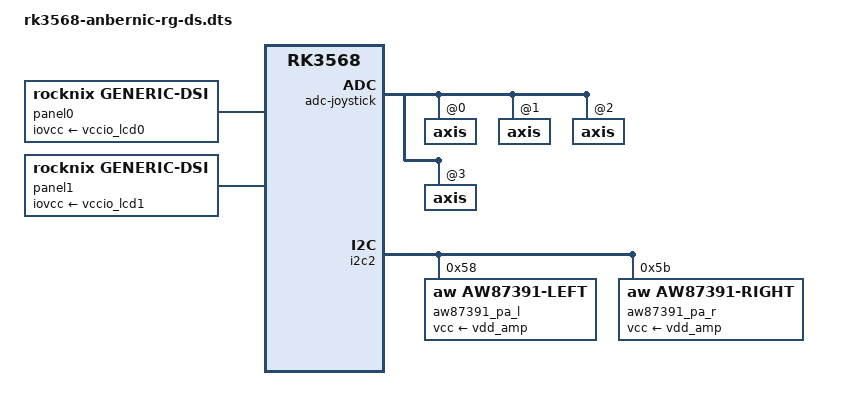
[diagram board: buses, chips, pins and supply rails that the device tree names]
// SPDX-License-Identifier: (GPL-2.0+ OR MIT)
/*
 * Anbernic RG DS for RG DS OS (docs/OWN_BSP_PLAN.md, Phase C).
 *
 * The board is Linux's own tree, rk3568-anbernic-rg-ds-mainline.dtsi: mainline v7.2.7's
 * rk3568-anbernic-rg-ds.dts, unchanged. This file holds only what RG DS OS runs differently, one section per
 * reason, so each can go once mainline (or our move to mainline drivers) covers it. On 2026-11-20 the compiled
 * result was checked against the BananaLinux-based tree it replaces with tools/dtb_compare.py: same meaning,
 * node for node. The panels' timings and init sequences come from BananaLinux's tree (MIT), which takes them from
 * ROCKNIX (GPL-2.0); see THIRD_PARTY.md. Our former dts-patches 0001-0004 (60 Hz panels,
 * 25 kHz motor, KEY_HOME, LEDs through sleep) are folded in below.
 */

#include "rk3568-anbernic-rg-ds-mainline.dtsi"
#include <dt-bindings/suspend/rockchip-rk3568.h>

/*
 * Buttons, sticks and rumble: mainline's drivers (gpio-keys, adc-joystick behind the analog mux, pwm-vibrator), merged
 * into one pad with ROCKNIX's joypad identity by rgds-pad (src/pad, started by rcS), which everything above the kernel
 * expects (docs/OWN_BSP_PLAN.md, Phase C step 2). For that:
 *  - the F key stays BTN_MODE (mainline makes it KEY_HOME) and the Anbernic Home key KEY_HOME (mainline: BTN_MODE),
 *    the codes RG DS Core, the bridge and the game menus have always seen; Home at ROCKNIX's threshold;
 *  - adc-joystick reports the four mux channels as they are (channel N, uninverted, no fuzz or flat), every 5 ms as
 *    ROCKNIX's driver read them; rgds-pad applies that driver's mapping, centring, deadzone and gain;
 *  - the motor's PWM at 25 kHz (40000 ns): at mainline's 10 kHz the coil sings on every menu tap.
 */
&gpio_keys_control {
	button-menu {
		linux,code = <BTN_MODE>;
	};
};

&adc_keys_home {
	button-home {
		linux,code = <KEY_HOME>;
		press-threshold-microvolt = <41000>;
	};
};

/ {
	adc-joystick {
		poll-interval = <5>;

		axis@0 {
			abs-flat = <0>;
			abs-fuzz = <0>;
			abs-range = <0 1023>;
			linux,code = <ABS_X>;
		};

		axis@1 {
			abs-flat = <0>;
			abs-fuzz = <0>;
			abs-range = <0 1023>;
			linux,code = <ABS_Y>;
		};

		axis@2 {
			abs-flat = <0>;
			abs-fuzz = <0>;
			abs-range = <0 1023>;
			linux,code = <ABS_RX>;
		};

		axis@3 {
			abs-flat = <0>;
			abs-fuzz = <0>;
			abs-range = <0 1023>;
			linux,code = <ABS_RY>;
		};
	};
};

&vibrator {
	pwms = <&pwm14 0 40000 0>;
};

/*
 * Panels: ROCKNIX's generic DSI driver with each panel's init sequence and timings in the tree, until Phase C step 3.
 * The pixel clock is 42134 kHz because VPLL/HPLL run at 126.4 MHz and the VOP divides by a whole number; the porches
 * (ROCKNIXDS's measured fix) make 42133334 / (1353 x 519) = 60.0013 Hz, where mainline's jadard timings give 59.6 Hz.
 * This driver calls the I/O supply iovcc; the touchscreens are not tied to a panel in that setup.
 */
&panel0 {
	compatible = "rocknix,generic-dsi";
	/delete-property/ vccio-supply;
	iovcc-supply = <&vccio_lcd0>;
	panel_description =
		"G size=81,61 delays=20,10,50,120,50 format=rgb888 lanes=4 flags=0xc03",

		"M clock=42134 horizontal=640,233,220,260 vertical=480,21,2,16 default=1",

		"I seq=e000", "I seq=e193", "I seq=e265", "I seq=e3f8",
		"I seq=8003",
		"I seq=e001",
		"I seq=0000", "I seq=016a", "I seq=0310", "I seq=046a",
		"I seq=0c74",
		"I seq=1700",
		"I seq=18bf", "I seq=1901", "I seq=1a00", "I seq=1bbf", "I seq=1c01",
		"I seq=24fe",
		"I seq=3709",
		"I seq=3802", "I seq=3908", "I seq=3a1f", "I seq=3cf7", "I seq=3dff", "I seq=3eff", "I seq=3fff",
		"I seq=4003", "I seq=413c", "I seq=42ff", "I seq=430a", "I seq=4411", "I seq=4578",
		"I seq=5502", "I seq=576d",
		"I seq=580a", "I seq=590a", "I seq=5a1f", "I seq=5b1f", "I seq=5d7f", "I seq=5e56", "I seq=5f43",
		"I seq=6034", "I seq=612f", "I seq=6220", "I seq=6322", "I seq=640c", "I seq=6524", "I seq=6624", "I seq=6725",
		"I seq=6843", "I seq=6933", "I seq=6a3a", "I seq=6b2d", "I seq=6c28", "I seq=6d1b", "I seq=6e0b", "I seq=6f00",
		"I seq=707f", "I seq=7156", "I seq=7243", "I seq=7334", "I seq=742f", "I seq=7520", "I seq=7622", "I seq=770c",
		"I seq=7824", "I seq=7924", "I seq=7a25", "I seq=7b43", "I seq=7c33", "I seq=7d3a", "I seq=7e2d", "I seq=7f28",
		"I seq=801b", "I seq=810b", "I seq=8200",
		"I seq=e002",
		"I seq=005f", "I seq=015f", "I seq=025f", "I seq=035e", "I seq=0450", "I seq=0540", "I seq=065f", "I seq=0757",
		"I seq=0877", "I seq=0948", "I seq=0a48", "I seq=0b4a", "I seq=0c4a", "I seq=0d44", "I seq=0e44", "I seq=0f46",
		"I seq=1046", "I seq=115f", "I seq=125f", "I seq=135f", "I seq=145f", "I seq=155f", "I seq=165f", "I seq=175f",
		"I seq=185f", "I seq=195e", "I seq=1a50", "I seq=1b41", "I seq=1c5f", "I seq=1d57", "I seq=1e77", "I seq=1f49",
		"I seq=2049", "I seq=214b", "I seq=224b", "I seq=2345", "I seq=2445", "I seq=2547", "I seq=2647", "I seq=275f",
		"I seq=285f", "I seq=295f", "I seq=2a5f", "I seq=2b5f", "I seq=2c1f", "I seq=2d1f", "I seq=2e1e", "I seq=2f1f",
		"I seq=3010", "I seq=3101", "I seq=321f", "I seq=3317", "I seq=3417", "I seq=3507", "I seq=3607", "I seq=3705",
		"I seq=3805", "I seq=390b", "I seq=3a0b", "I seq=3b09", "I seq=3c09", "I seq=3d1f", "I seq=3e1f", "I seq=3f1f",
		"I seq=401f", "I seq=411f", "I seq=421f", "I seq=431f", "I seq=441e", "I seq=451f", "I seq=4610", "I seq=4700",
		"I seq=481f", "I seq=4917", "I seq=4a17", "I seq=4b06", "I seq=4c06", "I seq=4d04", "I seq=4e04", "I seq=4f0a",
		"I seq=500a", "I seq=5108", "I seq=5208", "I seq=531f", "I seq=541f", "I seq=551f", "I seq=561f", "I seq=571f",
		"I seq=5840", "I seq=5900", "I seq=5a00", "I seq=5b10", "I seq=5c07", "I seq=5d30", "I seq=5e01", "I seq=5f02",
		"I seq=6030", "I seq=6101", "I seq=6202", "I seq=6306", "I seq=64e9", "I seq=6540", "I seq=6602", "I seq=6773",
		"I seq=680b", "I seq=6906", "I seq=6ae9", "I seq=6b08",
		"I seq=75da", "I seq=7600", "I seq=7701",
		"I seq=78fc",
		"I seq=8108", "I seq=83f4", "I seq=8710",
		"I seq=e004",
		"I seq=000e", "I seq=02b3",
		"I seq=0960", "I seq=0e48",
		"I seq=1e00",
		"I seq=3758",
		"I seq=2b0f",
		"I seq=e005",
		"I seq=151d",
		"I seq=e000";
};

&panel1 {
	compatible = "rocknix,generic-dsi";
	/delete-property/ vccio-supply;
	iovcc-supply = <&vccio_lcd1>;
	panel_description =
		"G size=81,61 delays=20,10,50,120,50 format=rgb888 lanes=4 flags=0xc03",

		"M clock=42134 horizontal=640,233,220,260 vertical=480,21,2,16 default=1",

		"I seq=e000", "I seq=e193", "I seq=e265", "I seq=e3f8",
		"I seq=8003",
		"I seq=e001",
		"I seq=0000", "I seq=016a", "I seq=0310", "I seq=046a",
		"I seq=0c74",
		"I seq=1700",
		"I seq=18bf", "I seq=1901", "I seq=1a00", "I seq=1bbf", "I seq=1c01",
		"I seq=24fe",
		"I seq=3705",
		"I seq=3802", "I seq=3908", "I seq=3a1f", "I seq=3cf7", "I seq=3dff", "I seq=3eff", "I seq=3fff",
		"I seq=4003", "I seq=413c", "I seq=42ff", "I seq=430a", "I seq=4411", "I seq=4578",
		"I seq=5502", "I seq=576d",
		"I seq=580a", "I seq=590a", "I seq=5a1f", "I seq=5b1f", "I seq=5d7f", "I seq=5e56", "I seq=5f43",
		"I seq=6034", "I seq=612f", "I seq=6220", "I seq=6322", "I seq=640c", "I seq=6524", "I seq=6624", "I seq=6725",
		"I seq=6843", "I seq=6933", "I seq=6a3a", "I seq=6b2d", "I seq=6c28", "I seq=6d1b", "I seq=6e0b", "I seq=6f00",
		"I seq=707f", "I seq=7156", "I seq=7243", "I seq=7334", "I seq=742f", "I seq=7520", "I seq=7622", "I seq=770c",
		"I seq=7824", "I seq=7924", "I seq=7a25", "I seq=7b43", "I seq=7c33", "I seq=7d3a", "I seq=7e2d", "I seq=7f28",
		"I seq=801b", "I seq=810b", "I seq=8200",
		"I seq=e002",
		"I seq=005f", "I seq=015f", "I seq=025f", "I seq=035e", "I seq=0450", "I seq=0540", "I seq=065f", "I seq=0757",
		"I seq=0877", "I seq=0948", "I seq=0a48", "I seq=0b4a", "I seq=0c4a", "I seq=0d44", "I seq=0e44", "I seq=0f46",
		"I seq=1046", "I seq=115f", "I seq=125f", "I seq=135f", "I seq=145f", "I seq=155f", "I seq=165f", "I seq=175f",
		"I seq=185f", "I seq=195e", "I seq=1a50", "I seq=1b41", "I seq=1c5f", "I seq=1d57", "I seq=1e77", "I seq=1f49",
		"I seq=2049", "I seq=214b", "I seq=224b", "I seq=2345", "I seq=2445", "I seq=2547", "I seq=2647", "I seq=275f",
		"I seq=285f", "I seq=295f", "I seq=2a5f", "I seq=2b5f", "I seq=2c1f", "I seq=2d1f", "I seq=2e1e", "I seq=2f1f",
		"I seq=3010", "I seq=3101", "I seq=321f", "I seq=3317", "I seq=3417", "I seq=3507", "I seq=3607", "I seq=3705",
		"I seq=3805", "I seq=390b", "I seq=3a0b", "I seq=3b09", "I seq=3c09", "I seq=3d1f", "I seq=3e1f", "I seq=3f1f",
		"I seq=401f", "I seq=411f", "I seq=421f", "I seq=431f", "I seq=441e", "I seq=451f", "I seq=4610", "I seq=4700",
		"I seq=481f", "I seq=4917", "I seq=4a17", "I seq=4b06", "I seq=4c06", "I seq=4d04", "I seq=4e04", "I seq=4f0a",
		"I seq=500a", "I seq=5108", "I seq=5208", "I seq=531f", "I seq=541f", "I seq=551f", "I seq=561f", "I seq=571f",
		"I seq=5840", "I seq=5900", "I seq=5a00", "I seq=5b10", "I seq=5c07", "I seq=5d30", "I seq=5e01", "I seq=5f02",
		"I seq=6030", "I seq=6101", "I seq=6202", "I seq=6306", "I seq=64e9", "I seq=6540", "I seq=6602", "I seq=6773",
		"I seq=680b", "I seq=6906", "I seq=6ae9", "I seq=6b08",
		"I seq=75da", "I seq=7600", "I seq=7701",
		"I seq=78fc",
		"I seq=8108", "I seq=83f4", "I seq=8710",
		"I seq=e004",
		"I seq=000e", "I seq=02b3",
		"I seq=0960", "I seq=0e48",
		"I seq=1e00",
		"I seq=3758",
		"I seq=2b0f",
		"I seq=e005",
		"I seq=151d",
		"I seq=e000";
};

&touch0 {
	/delete-property/ panel;
};

&touch1 {
	/delete-property/ panel;
};

/*
 * Display clocks: each video port on its own PLL at 126.4 MHz (VOP0 on HPLL, VOP1 on VPLL) instead of both on VPLL
 * at 292.5 MHz. Two panels sharing one PLL whose rate neither can divide exactly is the likely cause of the blanking
 * on touch seen with the mainline tree under Armbian (docs/OWN_OS_PLAN.md, hypotheses).
 */
&cru {
	assigned-clocks = <&pmucru CLK_RTC_32K>, <&cru PLL_GPLL>,
			  <&pmucru PLL_PPLL>, <&pmucru PLL_HPLL>, <&cru PLL_VPLL>;
	assigned-clock-rates = <32768>, <1200000000>,
			       <200000000>, <126400000>, <126400000>;
};

&vop {
	assigned-clock-parents = <&pmucru PLL_HPLL>, <&cru PLL_VPLL>;
};

/*
 * Speaker amplifiers: the AW87391 driver RG DS OS carries (linux-patches/2-linux-0026), which names its controls
 * "Left AMP"/"Right AMP" and its supply vcc. The amps' regulator keeps ROCKNIX's name and pin group name.
 */
/delete-node/ &aw87391_pa_l;
/delete-node/ &aw87391_pa_r;

&i2c2 {
	aw87391_pa_l: aw87391@58 {
			compatible = "aw,aw87391-left";
			reg = <0x58>;
			sound-name-prefix = "Left AMP";
			vcc-supply = <&vdd_amp>;
	};

	aw87391_pa_r: aw87391@5b {
			compatible = "aw,aw87391-right";
			reg = <0x5b>;
			sound-name-prefix = "Right AMP";
			vcc-supply = <&vdd_amp>;
	};
};

/ {
	sound {
		simple-audio-card,routing =
			"MICL", "Mic Jack",
			"Headphones", "HPOL",
			"Headphones", "HPOR",
			"Internal Speakers", "Left AMP OUT",
			"Internal Speakers", "Right AMP OUT",
			"Left AMP IN", "HPOL",
			"Right AMP IN", "HPOR";
	};
};

&vdd_amp {
	pinctrl-0 = <&vcc_amp_h>;
	regulator-name = "vcc_amp";
	/delete-property/ vin-supply;

	regulator-state-mem {
		regulator-off-in-suspend;
	};
};

&pinctrl {
	/delete-node/ vdd-amp;

	vcc-amp {
		vcc_amp_h: vcc-amp-h {
			rockchip,pins =
				<4 RK_PC3 RK_FUNC_GPIO &pcfg_pull_none>;
		};
	};
};

/*
 * Deep sleep (true sleep, 2026-10-31): BL31's sleep mode for the RK3568 (board/rgds/kernel/rockchip_pm_config.c),
 * the RK817 put to sleep with the SoC through its sleep pin, and vdd_logic off while asleep: ARMOFF_LOGOFF powers the
 * logic domain down, and the PMU domain lives on vdda0v9_pmu, as on the vendor's boards. The charging and status
 * LEDs keep their state through the sleep (the amber charge light, the dim red "asleep" light).
 */
/ {
	rockchip_suspend: rockchip-suspend {
		compatible = "rockchip,pm-rk3568";
		rockchip,sleep-debug-en = <0>;
		rockchip,sleep-mode-config = <
			(0
			| RKPM_SLP_ARMOFF_LOGOFF
			| RKPM_SLP_CENTER_OFF
			| RKPM_SLP_HW_PLLS_OFF
			| RKPM_SLP_PMUALIVE_32K
			| RKPM_SLP_OSC_DIS
			| RKPM_SLP_PMIC_LP
			| RKPM_SLP_32K_PVTM
			)
		>;
		rockchip,wakeup-config = <
			(0
			| RKPM_GPIO_WKUP_EN
			)
		>;
	};
};

&rk817 {
	pinctrl-0 = <&i2s1m0_mclk &pmic_int_l &pmic_pins>;
};

&vdd_logic {
	regulator-state-mem {
		/delete-property/ regulator-on-in-suspend;
		/delete-property/ regulator-suspend-microvolt;
		regulator-off-in-suspend;
	};
};

&amber_led {
	retain-state-suspended;
};

&red_led {
	retain-state-suspended;
};

/* The lid's hall sensor line pulled up, as ROCKNIX's tree has it. */
&hall_int_l {
	rockchip,pins =
		<0 RK_PC3 RK_FUNC_GPIO &pcfg_pull_up>;
};

/* The USB 1.1 host controller stays off: the port's USB 2.0 host covers keyboards, pads and storage. */
&usb_host0_ohci {
	status = "disabled";
};

/* Kernel crash records kept in RAM through a restart (rcS moves them to the card): pstore, CONFIG_PSTORE_RAM. */
/ {
	reserved-memory {
		ramoops@110000 {
			compatible = "ramoops";
			reg = <0x0 0x110000 0x0 0xf0000>;
			record-size = <0x20000>;
			console-size = <0x80000>;
			pmsg-size = <0x50000>;
		};
	};
};
